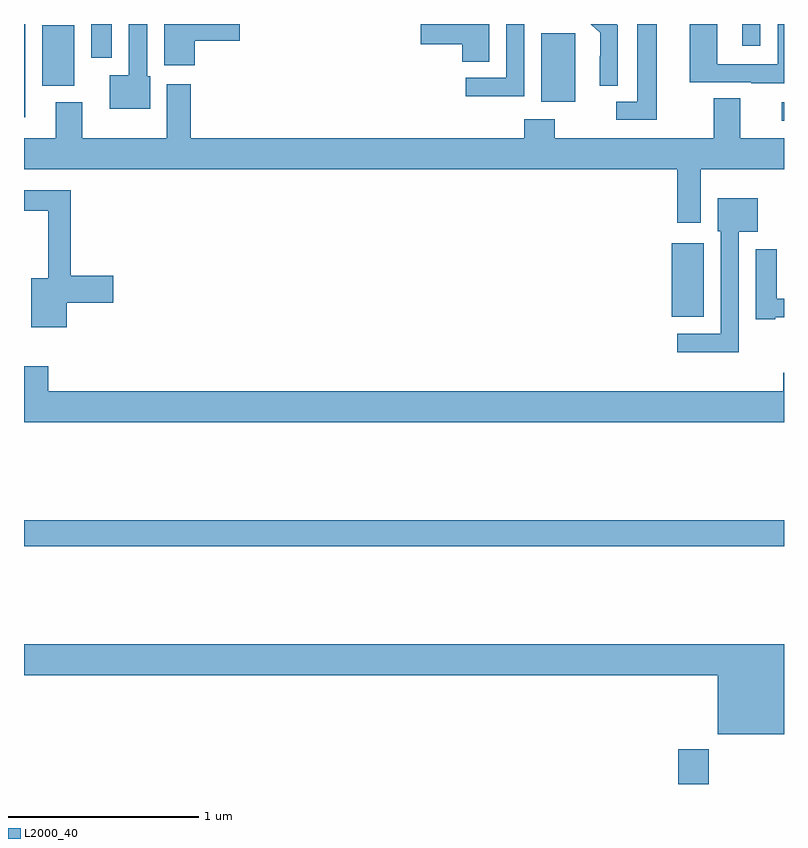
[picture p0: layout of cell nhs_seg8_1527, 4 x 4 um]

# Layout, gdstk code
import gdstk
lib = gdstk.Library(unit=1e-6, precision=1e-09)
def R(c, l, rs):  # rectangles x0, y0, x1, y1
    for r in rs: c.add(gdstk.rectangle(r[:2], r[2:], *l))
def P(c, l, *ps):  # polygons
    for p in ps: c.add(gdstk.Polygon(p, *l))
L2000_40 = (2000, 40)

nhs_seg8_1527 = lib.new_cell('nhs_seg8_1527')
R(nhs_seg8_1527, L2000_40, [(210.443,1143.9,210.603,1144.084), (207,1145.152,211,1145.288), (210.41,1146.359,210.577,1146.745), (210.987,1147.392,211,1147.488), (207,1147.41,207.006,1147.9), (209.723,1147.49,209.902,1147.851), (207.095,1147.574,207.265,1147.894), (207.353,1147.722,207.463,1147.9), (210.779,1147.785,210.876,1147.9)])
P(nhs_seg8_1527, L2000_40, [(209.634,1147.9),(209.538,1147.9),(209.538,1147.617),(209.325,1147.617),(209.325,1147.519),(209.634,1147.519)],
  [(211,1147.9),(210.966,1147.9),(210.966,1147.689),(210.648,1147.689),(210.648,1147.9),(210.503,1147.9),(210.503,1147.593),(210.827,1147.593),(210.827,1147.589),(211,1147.589)],
  [(207.899,1147.811),(208.135,1147.811),(208.135,1147.9),(207.737,1147.9),(207.737,1147.683),(207.899,1147.683)],
  [(207.664,1147.626),(207.648,1147.626),(207.648,1147.9),(207.552,1147.9),(207.552,1147.63),(207.452,1147.63),(207.452,1147.454),(207.664,1147.454)],
  [(210.331,1147.9),(210.227,1147.9),(210.227,1147.491),(210.117,1147.491),(210.117,1147.395),(210.331,1147.395)],
  [(210.126,1147.894),(210.12,1147.9),(209.984,1147.9),(210.032,1147.853),(210.032,1147.73),(210.03,1147.73),(210.03,1147.576),(210.126,1147.576)],
  [(209.449,1147.9),(209.088,1147.9),(209.088,1147.793),(209.306,1147.793),(209.306,1147.702),(209.449,1147.702)],
  [(210.562,1147.136),(211,1147.136),(211,1147.3),(210.769,1147.3),(210.769,1147.508),(210.629,1147.508),(210.629,1147.3),(209.793,1147.3),(209.793,1147.399),(209.633,1147.399),(209.633,1147.3),(207.878,1147.3),(207.878,1147.582),(207.752,1147.582),(207.752,1147.3),(207.307,1147.3),(207.307,1147.489),(207.167,1147.489),(207.167,1147.3),(207,1147.3),(207,1147.136),(210.437,1147.136),(210.437,1146.855),(210.562,1146.855)],
  [(207.226,1146.433),(207.469,1146.433),(207.469,1146.575),(207.245,1146.575),(207.245,1147.026),(207,1147.026),(207,1146.918),(207.128,1146.918),(207.128,1146.562),(207.038,1146.562),(207.038,1146.305),(207.226,1146.305)],
  [(210.762,1146.806),(210.862,1146.806),(210.862,1146.982),(210.65,1146.982),(210.65,1146.81),(210.666,1146.81),(210.666,1146.27),(210.438,1146.27),(210.438,1146.173),(210.762,1146.173)],
  [(210.955,1146.357),(211,1146.357),(211,1146.453),(210.961,1146.453),(210.961,1146.715),(210.851,1146.715),(210.851,1146.345),(210.955,1146.345)],
  [(211,1146.064),(210.995,1146.064),(210.995,1145.968),(207.128,1145.968),(207.128,1146.1),(207,1146.1),(207,1145.804),(211,1145.804)],
  [(211,1144.636),(207,1144.636),(207,1144.472),(210.65,1144.472),(210.65,1144.163),(211,1144.163)])

lib.write_gds('nhs_seg8_1527.gds')
